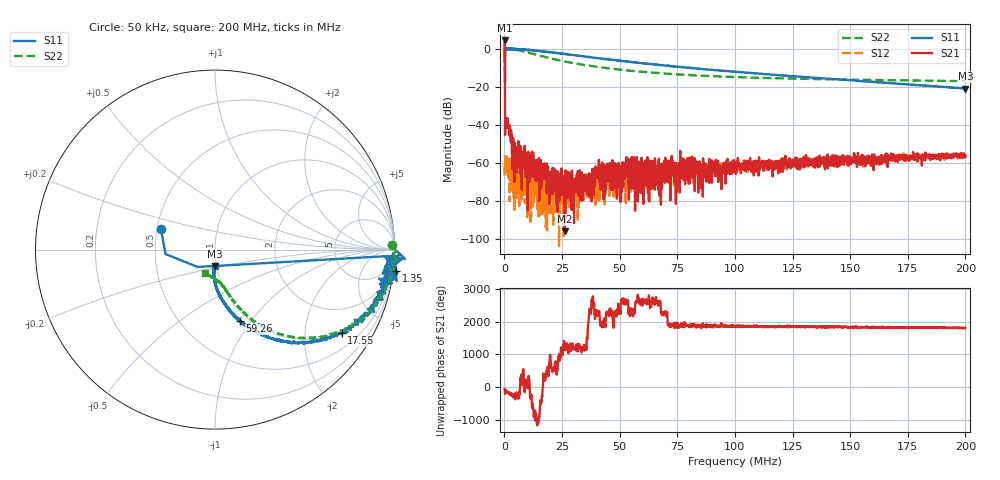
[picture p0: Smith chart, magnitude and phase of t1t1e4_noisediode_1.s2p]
! 27-Aug-26 2:24:17 PM
! E:\20260827_VNA\T1T1E4_NOISEDIODE_1.S2P
! CHANNEL.1
! TR.MEASUREMENT
! CORRECTED.DATA
# GHZ S RI R 50.0
! FREQ.GHZ  S11RE  S11IM  S21RE  S21IM  S12RE  S12IM  S22RE  S22IM
!; PortSelection: Port_12
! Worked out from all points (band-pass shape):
!   2000 points, 50 kHz to 200 MHz, reference 50 ohm
!   highest |S21| = 4.37 dB at 150 kHz (marker M1); lowest = -95.9 dB at 26.16 MHz (marker M2)
!   |S21| within 3 dB of the highest: 122.8 kHz to 156.1 kHz (33.26 kHz wide, 23.9 % of centre)
!   lowest |S11| = -20.9 dB at 200 MHz (marker M3), VSWR 1.20, Z = 49.2 - j8.98 ohm
!   |S11| at or under -10 dB: 60.04 kHz to 292.9 kHz (232.9 kHz wide, 132 % of centre); 79.24727 MHz to 79.2921 MHz (44.83 kHz wide, 0.0565 % of centre); 80.38 MHz to end of sweep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
!   |S22| runs from -17.0 to 0.1 dB; largest |S21 - S12| = 1.7
!   S11 on the Smith chart (normalised r, x): 50 kHz: 0.53, +0.13; 1.35 MHz: -2, -17; 17.55 MHz: 0.94, -3.06; 59.26 MHz: 0.91, -0.89; 200 MHz: 0.98, -0.18
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5e-05  -0.3005 0.1127  0.1909 -0.4238  -0.00045 -0.000159  0.9849 0.0272
0.000150025  -0.2757 -0.0249  -0.952 -1.353  -0.000495 0.000867  1.01 -0.00955
0.001350325  1.009 -0.1204  -0.0152 -0.000241  -0.000938 0.000544  0.9881 -0.0971
0.003950975  0.976 -0.1378  -0.00185 0.00148  -3.7e-06 0.000131  0.9199 -0.265
0.006751676  0.9158 -0.248  0.000622 7.21e-05  -0.000311 0.000423  0.8066 -0.3934
0.01755438  0.7049 -0.4662  -0.000241 -0.000374  -8.18e-05 2.95e-05  0.3838 -0.4759
0.02615653  0.5152 -0.5143  -1.1e-05 -1.17e-05  -8.3e-05 1.1e-05  0.2286 -0.406
0.03345835  0.3884 -0.5101  0.000127 -4.54e-05  -0.000113 0.000226  0.1618 -0.3511
0.03695923  0.3367 -0.5021  -0.000105 -0.000218  -1.79e-05 0.000109  0.1394 -0.3302
0.03995998  0.2976 -0.4907  -0.000631 -0.000106  -0.000127 5.46e-05  0.125 -0.313
0.05926481  0.1391 -0.3982  0.000316 0.000139  -0.000146 0.000627  0.0699 -0.2405
0.06676668  0.1022 -0.367  -1.67e-05 0.000194  -0.000179 0.000313  0.0594 -0.2231
0.07306826  0.0772 -0.3379  -0.000341 0.000342  6.63e-05 0.000605  0.0504 -0.2113
0.07516878  0.0732 -0.3276  -0.000265 0.000314  -2.81e-05 0.000552  0.0482 -0.2072
0.07726931  0.0712 -0.3223  0.00029 0.00058  8.48e-05 0.000448  0.045 -0.2043
0.08507126  0.0501 -0.2937  0.000514 0.00056  0.000243 0.000674  0.0361 -0.1937
0.09007251  0.0392 -0.2782  0.000164 0.000257  6.89e-05 0.0009  0.033 -0.1888
0.09317329  0.0317 -0.2667  0.000112 0.000456  7.98e-05 0.00067  0.0285 -0.1854
0.100075  0.0218 -0.2495  0.000363 0.000706  0.000304 0.000849  0.023 -0.1797
0.1333833  -0.00197 -0.1753  0.000864 0.000787  0.0006 0.000762  -0.00368 -0.1616
0.1666917  -0.00626 -0.126  0.00117 0.00111  0.00123 0.000447  -0.0294 -0.1476
0.2  0.000367 -0.0905  0.00143 0.000365  0.00154 0.000552  -0.056 -0.1305
